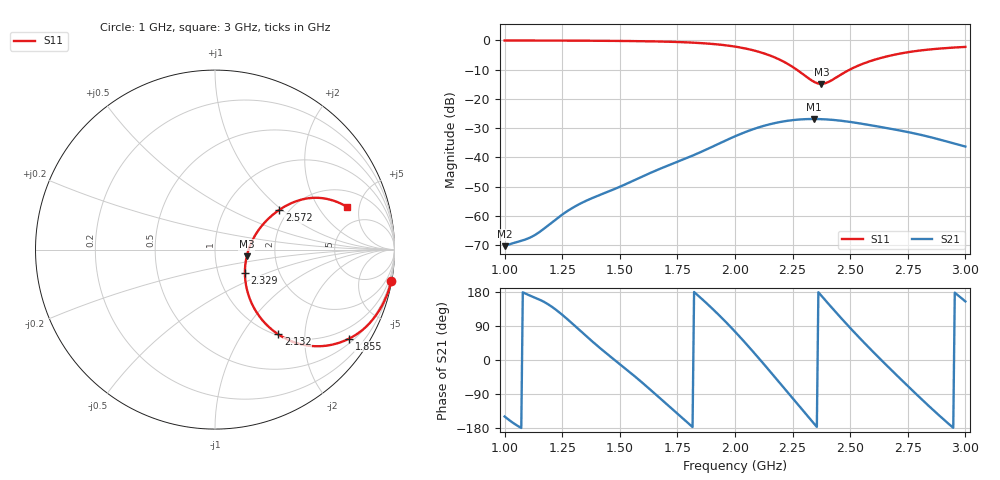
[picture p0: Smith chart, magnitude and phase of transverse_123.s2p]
! TOUCHSTONE file generated by CST MICROWAVE STUDIO
! Date and time: Tue Mar 11 13:57:00 2025
! Project name: transverse.cst
! Parameters = {Fracture=1; B=12.5; D=160; F=15; Feed=2.85625; L=100; M=10; R=0.384908; S=2; Theta=90; length=57.125; wave=114.25}
! Header version: 2024
! Port assignment regex: !\s*Touchstone port\s*([0-9]+)\s*=\s*(CST MWS port|CST DES external port|CST DES block port)\s*(.+)\s* \(\"(.*)\"\)(\s*mode\s*([0-9]+))?.*
! Touchstone port assignment:
! Touchstone port 1 = CST MWS port 1 ("")
! Touchstone port 2 = CST MWS port 2 ("")
# GHz S MA R 50
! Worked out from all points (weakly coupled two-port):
!   305 points, 1 GHz to 3 GHz, reference 50 ohm
!   highest |S21| = -26.89 dB at 2.342 GHz (marker M1); lowest = -70.4 dB at 1 GHz (marker M2)
!   lowest |S11| = -14.9 dB at 2.375 GHz (marker M3), VSWR 1.44, Z = 71.2 - j5.6 ohm
!   |S11| at or under -10 dB: 2.268 GHz to 2.498 GHz (230.2 MHz wide, 9.66 % of centre)
!   S12 and S22 are empty: the file has one direction only
!   S11 on the Smith chart (normalised r, x): 1 GHz: 0, -11; 1.855 GHz: 0.63, -3.21; 2.132 GHz: 1.02, -1.47; 2.329 GHz: 1.34, -0.37; 2.572 GHz: 1.79, +0.97; 3 GHz: 3.20, +3.78
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1  0.9978 -10.0  0.0003021 -149.1  0 0.0  0 0.0
1.09211  0.9964 -11.3  0.0003957 174.8  0 0.0  0 0.0
1.125  0.9958 -11.8  0.0004531 166.3  0 0.0  0 0.0
1.26316  0.9924 -14.1  0.001138 112.6  0 0.0  0 0.0
1.33553  0.9894 -15.5  0.001668 73.4  0 0.0  0 0.0
1.67105  0.9578 -24.7  0.006282 -99.0  0 0.0  0 0.0
1.85526  0.8975 -33.5  0.0125 161.7  0 0.0  0 0.0
2  0.7834 -43.4  0.02288 75.0  0 0.0  0 0.0
2.06579  0.6979 -48.5  0.02904 30.8  0 0.0  0 0.0
2.13158  0.5891 -53.3  0.03513 -15.4  0 0.0  0 0.0
2.23026  0.3933 -56.3  0.04229 -86.6  0 0.0  0 0.0
2.28289  0.2868 -51.6  0.04445 -124.7  0 0.0  0 0.0
2.32895  0.2112 -37.9  0.04522 -157.8  0 0.0  0 0.0
2.33553  0.2033 -34.9  0.04525 -162.5  0 0.0  0 0.0
2.34211  0.1965 -31.6  0.04525 -167.2  0 0.0  0 0.0
2.375  0.1807 -12.2  0.04496 169.5  0 0.0  0 0.0
2.40789  0.1965 6.4  0.04421 146.6  0 0.0  0 0.0
2.47368  0.2803 25.8  0.04161 101.9  0 0.0  0 0.0
2.57237  0.4223 31.7  0.03632 38.3  0 0.0  0 0.0
2.67105  0.5462 30.3  0.03102 -21.9  0 0.0  0 0.0
2.82895  0.6898 24.0  0.02311 -114.4  0 0.0  0 0.0
3  0.7742 17.8  0.01528 154.7  0 0.0  0 0.0
